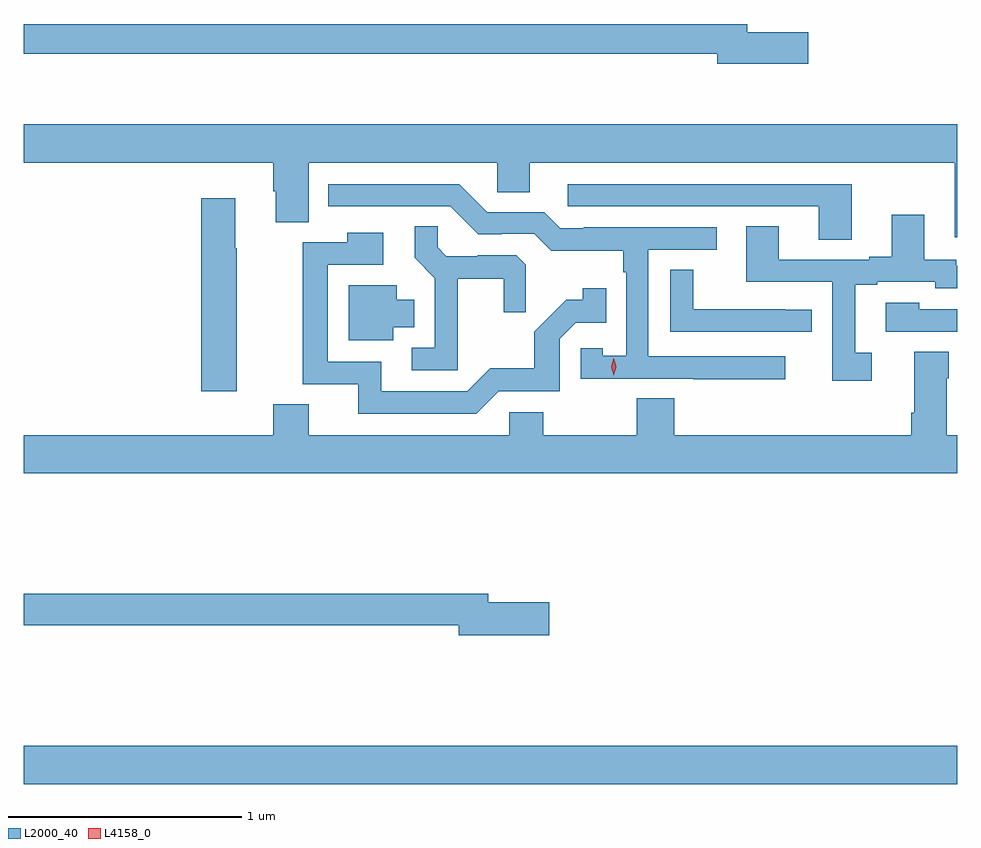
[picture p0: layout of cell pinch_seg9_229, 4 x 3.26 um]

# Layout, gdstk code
import gdstk
lib = gdstk.Library(unit=1e-6, precision=1e-09)
def R(c, l, rs):  # rectangles x0, y0, x1, y1
    for r in rs: c.add(gdstk.rectangle(r[:2], r[2:], *l))
def P(c, l, *ps):  # polygons
    for p in ps: c.add(gdstk.Polygon(p, *l))
L2000_40 = (2000, 40)
L4158_0 = (4158, 0)

pinch_seg9_229 = lib.new_cell('pinch_seg9_229')
R(pinch_seg9_229, L2000_40, [(417.227,1239.044,421.227,1239.208)])
P(pinch_seg9_229, L2000_40, [(420.589,1242.266),(420.328,1242.266),(420.328,1242.302),(417.227,1242.302),(417.227,1242.174),(420.2,1242.174),(420.2,1242.131),(420.589,1242.131)],
  [(421.227,1241.872),(417.227,1241.872),(417.227,1241.708),(418.295,1241.708),(418.295,1241.586),(418.307,1241.586),(418.307,1241.452),(418.447,1241.452),(418.447,1241.708),(419.256,1241.708),(419.256,1241.581),(419.395,1241.581),(419.395,1241.708),(421.217,1241.708),(421.217,1241.388),(421.227,1241.388)],
  [(420.49,1240.878),(419.904,1240.878),(419.904,1241.334),(420.196,1241.334),(420.196,1241.43),(419.626,1241.43),(419.626,1241.427),(419.526,1241.427),(419.457,1241.496),(419.214,1241.496),(419.094,1241.616),(418.532,1241.616),(418.532,1241.52),(419.055,1241.52),(419.175,1241.4),(419.276,1241.4),(419.276,1241.403),(419.415,1241.403),(419.488,1241.33),(419.796,1241.33),(419.796,1241.237),(419.808,1241.237),(419.808,1240.879),(419.709,1240.879),(419.709,1240.911),(419.613,1240.911),(419.613,1240.782),(420.097,1240.782),(420.097,1240.78),(420.49,1240.78)],
  [(420.775,1241.616),(419.559,1241.616),(419.559,1241.52),(420.635,1241.52),(420.635,1241.377),(420.775,1241.377)],
  [(418.14,1241.341),(418.132,1241.341),(418.132,1241.554),(417.986,1241.554),(417.986,1240.728),(418.14,1240.728)],
  [(420.862,1240.893),(420.79,1240.893),(420.79,1241.184),(420.886,1241.184),(420.886,1241.196),(421.134,1241.196),(421.134,1241.169),(421.227,1241.169),(421.227,1241.265),(421.224,1241.265),(421.224,1241.292),(421.087,1241.292),(421.087,1241.485),(420.947,1241.485),(420.947,1241.305),(420.851,1241.305),(420.851,1241.292),(420.463,1241.292),(420.463,1241.435),(420.323,1241.435),(420.323,1241.196),(420.693,1241.196),(420.693,1240.773),(420.862,1240.773)],
  [(419.087,1241.21),(419.284,1241.21),(419.284,1241.067),(419.378,1241.067),(419.378,1241.269),(419.337,1241.31),(419.172,1241.31),(419.172,1241.307),(419.038,1241.307),(419.001,1241.344),(419.001,1241.435),(418.903,1241.435),(418.903,1241.299),(418.989,1241.213),(418.989,1240.914),(418.89,1240.914),(418.89,1240.818),(419.087,1240.818)],
  [(419.262,1240.728),(419.523,1240.728),(419.523,1240.953),(419.592,1241.022),(419.723,1241.022),(419.723,1241.17),(419.622,1241.17),(419.622,1241.12),(419.552,1241.12),(419.415,1240.982),(419.415,1240.827),(419.226,1240.827),(419.127,1240.728),(418.759,1240.728),(418.759,1240.854),(418.53,1240.854),(418.53,1241.271),(418.768,1241.271),(418.768,1241.407),(418.612,1241.407),(418.612,1241.367),(418.422,1241.367),(418.422,1240.758),(418.661,1240.758),(418.661,1240.632),(419.166,1240.632)],
  [(420.604,1241.078),(420.491,1241.078),(420.491,1241.079),(420.096,1241.079),(420.096,1241.249),(419.997,1241.249),(419.997,1240.983),(420.604,1240.983)],
  [(418.81,1241.003),(418.9,1241.003),(418.9,1241.119),(418.825,1241.119),(418.825,1241.182),(418.619,1241.182),(418.619,1240.946),(418.81,1240.946)],
  [(421.227,1241.079),(421.065,1241.079),(421.065,1241.107),(420.921,1241.107),(420.921,1240.983),(421.227,1240.983)],
  [(421.227,1240.54),(421.183,1240.54),(421.183,1240.784),(421.191,1240.784),(421.191,1240.897),(421.043,1240.897),(421.043,1240.636),(421.031,1240.636),(421.031,1240.54),(420.014,1240.54),(420.014,1240.697),(419.854,1240.697),(419.854,1240.54),(419.454,1240.54),(419.454,1240.638),(419.307,1240.638),(419.307,1240.54),(418.447,1240.54),(418.447,1240.673),(418.295,1240.673),(418.295,1240.54),(417.227,1240.54),(417.227,1240.376),(421.227,1240.376)],
  [(419.479,1239.824),(419.218,1239.824),(419.218,1239.86),(417.227,1239.86),(417.227,1239.724),(419.09,1239.724),(419.09,1239.682),(419.479,1239.682)])
P(pinch_seg9_229, L4158_0, [(419.755,1240.797),(419.755,1240.797),(419.745,1240.833),(419.755,1240.869),(419.755,1240.869),(419.755,1240.869),(419.765,1240.833),(419.755,1240.797)])

lib.write_gds('pinch_seg9_229.gds')
